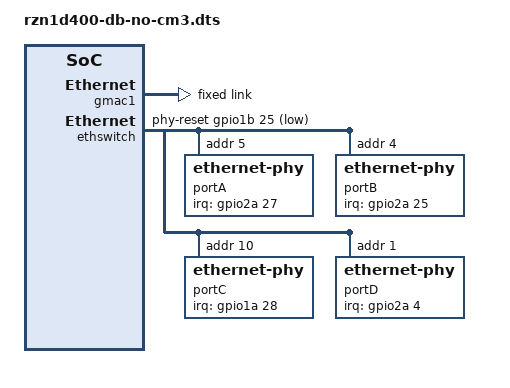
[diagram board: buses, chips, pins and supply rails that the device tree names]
/*
 * Device Tree Source for the RZN1D Demo Board.
 * This dts is for use when the Cortex M3 is not running, i.e. Linux controls
 * GMAC0, GMAC1, the 5-Port Switch and the RGMII/GMII Converters.
 *
 * Copyright (C) 2016 Renesas Electronics Europe Ltd
 *
 * This file is licensed under the terms of the GNU General Public License
 * version 2.  This program is licensed "as is" without any warranty of any
 * kind, whether express or implied.
 */

#include "rzn1d400-db.dts"

&gmac1 {
	status = "okay";

	/* Fixed 1Gbps link to the 5-port switch */
	fixed-link {
		speed = <1000>;
		full-duplex;
	};
};

&ethswitch {
	u-boot,dm-pre-reloc;
	status = "okay";
	bus_freq = <2500000>;
	pinctrl-names = "default";
	pinctrl-0 = <&pins_mdio1>,
		<&pins_eth1>, <&pins_eth2>, <&pins_eth3>, <&pins_eth4>;

	phy-reset-gpios = <&gpio1b 25 GPIO_ACTIVE_HIGH>;
	phy-reset-duration = <15>;

	#address-cells = <1>;
	#size-cells = <0>;
	portA: phy_mii4: ethernet-phy@5 {
		device_type = "ethernet-phy";
		phy-mode = "mii";
		reg = <5>;
		/* Set LED0 as active low link status */
		micrel,led-mode = <1>;
		interrupt-parent = <&gpio2a>;
		interrupts = <27 IRQ_TYPE_LEVEL_LOW>;
	};
	portB: phy_mii3: ethernet-phy@4 {
		device_type = "ethernet-phy";
		phy-mode = "mii";
		reg = <4>;
		/* Set LED0 as active low link status */
		micrel,led-mode = <1>;
		interrupt-parent = <&gpio2a>;
		interrupts = <25 IRQ_TYPE_LEVEL_LOW>;

		/* Enable this port during init */
		swport-early-enable;
	};
	portC: phy_mii2: ethernet-phy@10 {
		/* Ext Board: Marvell 88E1512 PHY on J24 */
		device_type = "ethernet-phy";
		phy-mode = "rgmii-id";
		reg = <10>;
		/* Set LED0 as active low link status, LED2 as interrupt */
		marvell,reg-init = <3 16 0 0x1010 3 18 0 0x4980>;
		interrupt-parent = <&gpio1a>;
		interrupts = <28 IRQ_TYPE_LEVEL_LOW>;
	};
	portD: phy_mii1: ethernet-phy@1 {
		/* Ext Board: Marvell 88E1512 PHY on J23 */
		device_type = "ethernet-phy";
		phy-mode = "rgmii-id";
		reg = <1>;
		/* Set LED0 as active low link status, LED2 as interrupt */
		marvell,reg-init = <3 16 0 0x1010 3 18 0 0x4980>;
		interrupt-parent = <&gpio2a>;
		interrupts = <4 IRQ_TYPE_LEVEL_LOW>;
	};
};

&eth_miic {
	/* RIN Mode Control - GMAC1 on all Switch ports */
	mode_control = <0x13>;

	/* Add MII used by Eth Switch */
	mii1: eth-mii1 {
		phy-handle = <&phy_mii1>;
	};
	mii2: eth-mii2 {
		phy-handle = <&phy_mii2>;
	};
	mii3: eth-mii3 {
		phy-handle = <&phy_mii3>;
	};
	mii4: eth-mii4 {
		phy-handle = <&phy_mii4>;
	};
};
